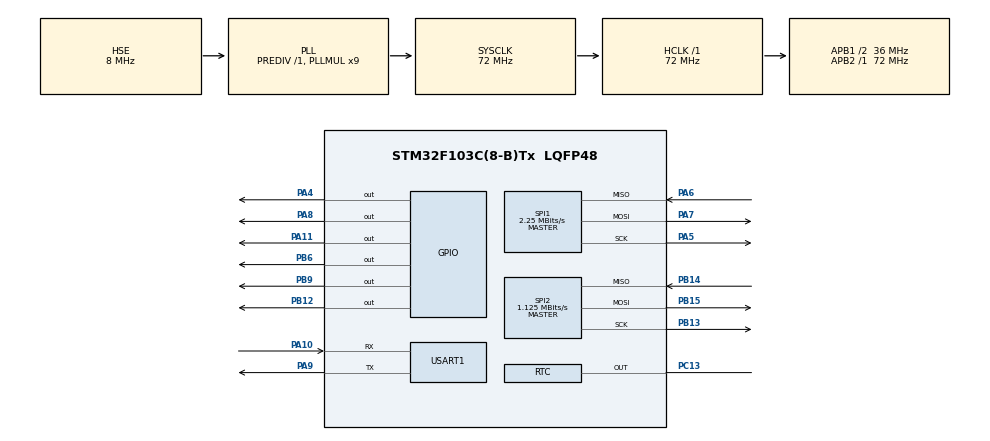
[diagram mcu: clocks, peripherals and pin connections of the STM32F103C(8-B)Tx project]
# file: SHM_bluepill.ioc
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FATFS._MAX_SS=4096
FATFS._USE_LFN=1
Mcu.Family=STM32F1
Mcu.Name=STM32F103C(8-B)Tx
Mcu.Package=LQFP48
NVIC.PriorityGroup=NVIC_PRIORITYGROUP_4
PA10.Mode=Asynchronous
PA10.Signal=USART1_RX
PA11.Signal=GPIO_Output
PA13.Mode=Serial_Wire
PA13.Signal=SYS_JTMS-SWDIO
PA14.Mode=Serial_Wire
PA14.Signal=SYS_JTCK-SWCLK
PA4.Signal=GPIO_Output
PA5.Mode=Full_Duplex_Master
PA5.Signal=SPI1_SCK
PA6.Mode=Full_Duplex_Master
PA6.Signal=SPI1_MISO
PA7.Mode=Full_Duplex_Master
PA7.Signal=SPI1_MOSI
PA8.Signal=GPIO_Output
PA9.Mode=Asynchronous
PA9.Signal=USART1_TX
PB12.Signal=GPIO_Output
PB13.Mode=Full_Duplex_Master
PB13.Signal=SPI2_SCK
PB14.Mode=Full_Duplex_Master
PB14.Signal=SPI2_MISO
PB15.Mode=Full_Duplex_Master
PB15.Signal=SPI2_MOSI
PB6.Signal=GPIO_Output
PB9.Signal=GPIO_Output
PC13-TAMPER-RTC.Mode=RTC OUT
PC13-TAMPER-RTC.Signal=RTC_OUT
PD0-OSC_IN.Mode=HSE-External-Oscillator
PD0-OSC_IN.Signal=RCC_OSC_IN
PD1-OSC_OUT.Mode=HSE-External-Oscillator
PD1-OSC_OUT.Signal=RCC_OSC_OUT
ProjectManager.HeapSize=0x200
ProjectManager.StackSize=0x400
ProjectManager.TargetToolchain=STM32CubeIDE
RCC.AHBFreq_Value=72000000
RCC.APB1CLKDivider=RCC_HCLK_DIV2
RCC.APB1Freq_Value=36000000
RCC.APB1TimFreq_Value=72000000
RCC.APB2Freq_Value=72000000
RCC.APB2TimFreq_Value=72000000
RCC.HCLKFreq_Value=72000000
RCC.PLLMUL=RCC_PLL_MUL9
RCC.PLLSourceVirtual=RCC_PLLSOURCE_HSE
RCC.SYSCLKFreq_VALUE=72000000
RCC.SYSCLKSource=RCC_SYSCLKSOURCE_PLLCLK
RCC.USBFreq_Value=72000000
RTC.Minutes_A-RTC\ OUT=1
RTC.Seconds_A-RTC\ OUT=30
SPI1.BaudRatePrescaler=SPI_BAUDRATEPRESCALER_32
SPI1.CLKPhase=SPI_PHASE_1EDGE
SPI1.CLKPolarity=SPI_POLARITY_LOW
SPI1.CalculateBaudRate=2.25 MBits/s
SPI1.Direction=SPI_DIRECTION_2LINES
SPI1.Mode=SPI_MODE_MASTER
SPI1.VirtualType=VM_MASTER
SPI2.BaudRatePrescaler=SPI_BAUDRATEPRESCALER_32
SPI2.CLKPhase=SPI_PHASE_2EDGE
SPI2.CLKPolarity=SPI_POLARITY_HIGH
SPI2.CalculateBaudRate=1.125 MBits/s
SPI2.Direction=SPI_DIRECTION_2LINES
SPI2.Mode=SPI_MODE_MASTER
SPI2.VirtualType=VM_MASTER
TIM1.Prescaler=71
TIM2.Prescaler=71
USART1.VirtualMode=VM_ASYNC
VP_FATFS_VS_Generic.Mode=User_defined
VP_RTC_VS_RTC_Activate.Mode=RTC_Enabled
VP_RTC_VS_RTC_Calendar.Mode=RTC_Calendar
VP_TIM1_VS_ClockSourceINT.Mode=Internal
VP_TIM2_VS_ClockSourceINT.Mode=Internal
board=custom

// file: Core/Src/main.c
/* USER CODE BEGIN Header */
/**
  ******************************************************************************
  * @file           : main.c
  * @brief          : Main program body
  ******************************************************************************
  * @attention
  *
  * Copyright (c) 2024 STMicroelectronics.
  * All rights reserved.
  *
  * This software is licensed under terms that can be found in the LICENSE file
  * in the root directory of this software component.
  * If no LICENSE file comes with this software, it is provided AS-IS.
  *
  ******************************************************************************
  */
/* USER CODE END Header */
#include "main.h"
#include "fatfs.h"

/* USER CODE BEGIN Includes */
#include "dht11.h"
#include "fatfs_sd.h"
#include "iis3dwb_reg.h"
#include "string.h"
#include <stdio.h>
/* USER CODE END Includes */

/* USER CODE BEGIN PD */
FATFS fs;
FIL fil;
uint32_t totalSpace, freeSpace;
/* USER CODE END PD */

/* USER CODE BEGIN PM */
#define    BOOT_TIME        10 //ms
#define CS_up_GPIO_Port GPIOA
#define CS_up_Pin GPIO_PIN_4
#define SENSOR_BUS hspi1
/* USER CODE END PM */

RTC_HandleTypeDef hrtc;

SPI_HandleTypeDef hspi1;
SPI_HandleTypeDef hspi2;

TIM_HandleTypeDef htim1;
TIM_HandleTypeDef htim2;

UART_HandleTypeDef huart1;

/* USER CODE BEGIN PV */
uint8_t RHI, RHD, TCI, TCD, SUM;
float tCelsius = 0;
float tFahrenheit = 0;
float RH = 0;
uint8_t data_rec[6];
int16_t x,y,z;
float xg, yg, zg;
char buffer[100] = {0};
char data[100] = {0};
RTC_DateTypeDef getDate = {0};
RTC_TimeTypeDef getTime = {0};

static int16_t data_raw_acceleration[3];
static int16_t data_raw_temperature;
static float acceleration_mg[3];
static float temperature_degC;
static uint8_t tx_buffer[1000];
/* USER CODE END PV */

void SystemClock_Config(void);
static void MX_GPIO_Init(void);
static void MX_RTC_Init(void);
static void MX_SPI1_Init(void);
static void MX_TIM1_Init(void);
static void MX_USART1_UART_Init(void);
static void MX_TIM2_Init(void);
static void MX_SPI2_Init(void);
/* USER CODE BEGIN PFP */

static int32_t platform_write (void *handle, uint8_t reg, const uint8_t *bufp, uint16_t len);
static int32_t platform_read (void *handle, uint8_t reg, uint8_t *bufp, uint16_t len);
static void platform_delay (uint32_t ms);
static void platform_init (void);

/* USER CODE END PFP */

/* USER CODE BEGIN 0 */
void putData (const char* fileName, char* data) {
	f_open(&fil, fileName, FA_OPEN_ALWAYS | FA_WRITE | FA_READ);
	f_lseek(&fil, fil.fsize);
	f_puts(data, &fil);
	f_close(&fil);
}

void getDHT11 () {
	while (!DHT11_Start());

	RHI = DHT11_Read(); // Relative humidity integral
	RHD = DHT11_Read(); // Relative humidity decimal
	TCI = DHT11_Read(); // Celsius integral
	TCD = DHT11_Read(); // Celsius decimal
	SUM = DHT11_Read(); // Check sum

	if (RHI + RHD + TCI + TCD == SUM)
	{
		// Can use RHI and TCI for any purposes if whole number only needed
		tCelsius = (float)TCI + (float)(TCD/10.0);
		tFahrenheit = tCelsius * 9/5 + 32;
		RH = (float)RHI + (float)(RHD/10.0);
		// Can use tCelsius, tFahrenheit and RH for any purpose
	}

	// Send to ESP32
	sprintf(buffer, "`%f,%f,", tCelsius, RH);
	HAL_UART_Transmit(&huart1, (uint8_t *)buffer, strlen(buffer), 1000);

	// Write to SD-Card
	sprintf(data, "%f,%f\n", tCelsius, RH);
	putData("Data.txt", data);
}

void IIS3DWB_Init (stmdev_ctx_t* dev_ctx)
{
	/* Initialize mems driver interface */
	dev_ctx->write_reg = platform_write;
	dev_ctx->read_reg = platform_read;
	dev_ctx->mdelay = platform_delay;
	dev_ctx->handle = &SENSOR_BUS;

	/* Init test platform */
	platform_init();

	/* Wait sensor boot time */
	platform_delay(BOOT_TIME);

	/* Restore default configuration */
	iis3dwb_reset_set(dev_ctx, PROPERTY_ENABLE);

	/* Enable Block Data Update */
	iis3dwb_block_data_update_set(dev_ctx, PROPERTY_ENABLE);

	/* Set Output Data Rate */
	iis3dwb_xl_data_rate_set(dev_ctx, IIS3DWB_XL_ODR_26k7Hz);

	/* Set full scale */
	iis3dwb_xl_full_scale_set(dev_ctx, IIS3DWB_2g);

	/* Configure filtering chain(No aux interface)
	* Accelerometer low pass filter path
	*/
	iis3dwb_xl_filt_path_on_out_set(dev_ctx, IIS3DWB_LP_ODR_DIV_100);
}

void read_temp_iis3dwb (stmdev_ctx_t* dev_ctx) {
	uint8_t reg_temp = 0;

	while (!reg_temp) {
		iis3dwb_temp_flag_data_ready_get(dev_ctx, &reg_temp);

		if (reg_temp) {
			/* Read temperature data */
			memset(&data_raw_temperature, 0x00, sizeof(int16_t));
			iis3dwb_temperature_raw_get(dev_ctx, &data_raw_temperature);
			temperature_degC = iis3dwb_from_lsb_to_celsius(data_raw_temperature);

			// Write to SD-Card
			sprintf((char *)tx_buffer,"\nT=%4.2f\n", temperature_degC);
			putData("Data.txt", (char *) tx_buffer);
		}
	}
}

void read_acc_iis3dwb (stmdev_ctx_t* dev_ctx, uint32_t startTime) {
	uint8_t reg = 0;

	while (!reg) {
		/* Read output only if new xl value is available */
		iis3dwb_xl_flag_data_ready_get(dev_ctx, &reg);

		if (reg) {
			/* Read acceleration field data */
			memset(data_raw_acceleration, 0x00, 3 * sizeof(int16_t));
			iis3dwb_acceleration_raw_get(dev_ctx, data_raw_acceleration);
			acceleration_mg[0] = iis3dwb_from_fs2g_to_mg(data_raw_acceleration[0]);
			acceleration_mg[1] = iis3dwb_from_fs2g_to_mg(data_raw_acceleration[1]);
			acceleration_mg[2] = iis3dwb_from_fs2g_to_mg(data_raw_acceleration[2]);

			// Write to SD-Card
			sprintf((char *)tx_buffer,"t=%f,A=%4.2f,%4.2f,%4.2f\n", (float)(HAL_GetTick() - startTime)/1000, acceleration_mg[0], acceleration_mg[1], acceleration_mg[2]);
			putData("Data.txt", (char *) tx_buffer);
		}
	}
}
/* USER CODE END 0 */

int main(void)
{

  /* MCU Configuration--------------------------------------------------------*/

  /* Reset of all peripherals, Initializes the Flash interface and the Systick. */
  HAL_Init();

  /* Configure the system clock */
  SystemClock_Config();

  /* Initialize all configured peripherals */
  MX_GPIO_Init();
  MX_RTC_Init();
  MX_SPI1_Init();
  MX_TIM1_Init();
  MX_USART1_UART_Init();
  MX_FATFS_Init();
  MX_TIM2_Init();
  MX_SPI2_Init();
  /* USER CODE BEGIN 2 */
  	HAL_TIM_Base_Start(&htim1);
	f_mount(&fs, "", 0);

	// Switch on all the components
	HAL_GPIO_WritePin(GPIOA, GPIO_PIN_11, 1);

	HAL_GPIO_WritePin(CS_up_GPIO_Port, CS_up_Pin, GPIO_PIN_SET);

	stmdev_ctx_t dev_ctx;
	IIS3DWB_Init(&dev_ctx);

	read_temp_iis3dwb(&dev_ctx);
	putData("Data.txt", "Acceleration data begins:\n");
	uint32_t startTime = HAL_GetTick();

  /* USER CODE END 2 */

  /* Infinite loop */
  /* USER CODE BEGIN WHILE */
	while (1)
	{
		read_acc_iis3dwb(&dev_ctx, startTime);
		// Send to ESP32
		sprintf(buffer, "^%f,%4.2f,%4.2f,%4.2f,", (float)(HAL_GetTick() - startTime)/1000, acceleration_mg[0], acceleration_mg[1], acceleration_mg[2]);
		HAL_UART_Transmit(&huart1, (uint8_t *)buffer, strlen(buffer), 1000);

		// Send to ESP32
		sprintf(buffer, "*%4.2f,", temperature_degC);
		HAL_UART_Transmit(&huart1, (uint8_t *)buffer, strlen(buffer), 1000);

		// Enter STANDBY Mode after 60 seconds
		if (HAL_GetTick() - startTime >= 60000)
		{
			// Power off all the components
			HAL_GPIO_WritePin(GPIOA, GPIO_PIN_11, 0);

			// Suspend SysTick, otherwise SysTick interrupt will wakeup MCU after 1ms of STANDBY
			HAL_SuspendTick();

			// Disable Wakeup Flag, otherwise MCU will go to STANDBY only once
			(PWR->CR) |= (PWR_FLAG_WU) << 2U;

			HAL_PWR_EnterSTANDBYMode();											// Enter STANDBY Mode

			// Resume SysTick
			HAL_ResumeTick();

			// Re-init system clock configuration after STANDBY mode exit
			SystemClock_Config();

			// Switch on all the components
			HAL_GPIO_WritePin(GPIOA, GPIO_PIN_11, 1);

			read_temp_iis3dwb(&dev_ctx);
			putData("Data.txt", "Acceleration data begins:\n");
			startTime = HAL_GetTick();
		}
    /* USER CODE END WHILE */

	}
}

void SystemClock_Config(void)
{
  RCC_OscInitTypeDef RCC_OscInitStruct = {0};
  RCC_ClkInitTypeDef RCC_ClkInitStruct = {0};
  RCC_PeriphCLKInitTypeDef PeriphClkInit = {0};

  /** Initializes the RCC Oscillators according to the specified parameters
  * in the RCC_OscInitTypeDef structure.
  */
  RCC_OscInitStruct.OscillatorType = RCC_OSCILLATORTYPE_LSI|RCC_OSCILLATORTYPE_HSE;
  RCC_OscInitStruct.HSEState = RCC_HSE_ON;
  RCC_OscInitStruct.HSEPredivValue = RCC_HSE_PREDIV_DIV1;
  RCC_OscInitStruct.HSIState = RCC_HSI_ON;
  RCC_OscInitStruct.LSIState = RCC_LSI_ON;
  RCC_OscInitStruct.PLL.PLLState = RCC_PLL_ON;
  RCC_OscInitStruct.PLL.PLLSource = RCC_PLLSOURCE_HSE;
  RCC_OscInitStruct.PLL.PLLMUL = RCC_PLL_MUL9;
  if (HAL_RCC_OscConfig(&RCC_OscInitStruct) != HAL_OK)
  {
    Error_Handler();
  }

  /** Initializes the CPU, AHB and APB buses clocks
  */
  RCC_ClkInitStruct.ClockType = RCC_CLOCKTYPE_HCLK|RCC_CLOCKTYPE_SYSCLK
                              |RCC_CLOCKTYPE_PCLK1|RCC_CLOCKTYPE_PCLK2;
  RCC_ClkInitStruct.SYSCLKSource = RCC_SYSCLKSOURCE_PLLCLK;
  RCC_ClkInitStruct.AHBCLKDivider = RCC_SYSCLK_DIV1;
  RCC_ClkInitStruct.APB1CLKDivider = RCC_HCLK_DIV2;
  RCC_ClkInitStruct.APB2CLKDivider = RCC_HCLK_DIV1;

  if (HAL_RCC_ClockConfig(&RCC_ClkInitStruct, FLASH_LATENCY_2) != HAL_OK)
  {
    Error_Handler();
  }
  PeriphClkInit.PeriphClockSelection = RCC_PERIPHCLK_RTC;
  PeriphClkInit.RTCClockSelection = RCC_RTCCLKSOURCE_LSI;
  if (HAL_RCCEx_PeriphCLKConfig(&PeriphClkInit) != HAL_OK)
  {
    Error_Handler();
  }
}

static void MX_RTC_Init(void)
{

  RTC_TimeTypeDef sTime = {0};
  RTC_DateTypeDef DateToUpdate = {0};
  RTC_AlarmTypeDef sAlarm = {0};

  /** Initialize RTC Only
  */
  hrtc.Instance = RTC;
  hrtc.Init.AsynchPrediv = RTC_AUTO_1_SECOND;
  hrtc.Init.OutPut = RTC_OUTPUTSOURCE_ALARM;
  if (HAL_RTC_Init(&hrtc) != HAL_OK)
  {
    Error_Handler();
  }

  /** Initialize RTC and set the Time and Date
  */
  sTime.Hours = 0x0;
  sTime.Minutes = 0x0;
  sTime.Seconds = 0x0;

  if (HAL_RTC_SetTime(&hrtc, &sTime, RTC_FORMAT_BCD) != HAL_OK)
  {
    Error_Handler();
  }
  DateToUpdate.WeekDay = RTC_WEEKDAY_MONDAY;
  DateToUpdate.Month = RTC_MONTH_JANUARY;
  DateToUpdate.Date = 0x1;
  DateToUpdate.Year = 0x0;

  if (HAL_RTC_SetDate(&hrtc, &DateToUpdate, RTC_FORMAT_BCD) != HAL_OK)
  {
    Error_Handler();
  }

  /** Enable the Alarm A
  */
  sAlarm.AlarmTime.Hours = 0x0;
  sAlarm.AlarmTime.Minutes = 0x1;
  sAlarm.AlarmTime.Seconds = 0x30;
  sAlarm.Alarm = RTC_ALARM_A;
  if (HAL_RTC_SetAlarm(&hrtc, &sAlarm, RTC_FORMAT_BCD) != HAL_OK)
  {
    Error_Handler();
  }

}

static void MX_SPI1_Init(void)
{

  /* SPI1 parameter configuration*/
  hspi1.Instance = SPI1;
  hspi1.Init.Mode = SPI_MODE_MASTER;
  hspi1.Init.Direction = SPI_DIRECTION_2LINES;
  hspi1.Init.DataSize = SPI_DATASIZE_8BIT;
  hspi1.Init.CLKPolarity = SPI_POLARITY_LOW;
  hspi1.Init.CLKPhase = SPI_PHASE_1EDGE;
  hspi1.Init.NSS = SPI_NSS_SOFT;
  hspi1.Init.BaudRatePrescaler = SPI_BAUDRATEPRESCALER_32;
  hspi1.Init.FirstBit = SPI_FIRSTBIT_MSB;
  hspi1.Init.TIMode = SPI_TIMODE_DISABLE;
  hspi1.Init.CRCCalculation = SPI_CRCCALCULATION_DISABLE;
  hspi1.Init.CRCPolynomial = 10;
  if (HAL_SPI_Init(&hspi1) != HAL_OK)
  {
    Error_Handler();
  }

}

static void MX_SPI2_Init(void)
{

  /* SPI2 parameter configuration*/
  hspi2.Instance = SPI2;
  hspi2.Init.Mode = SPI_MODE_MASTER;
  hspi2.Init.Direction = SPI_DIRECTION_2LINES;
  hspi2.Init.DataSize = SPI_DATASIZE_8BIT;
  hspi2.Init.CLKPolarity = SPI_POLARITY_HIGH;
  hspi2.Init.CLKPhase = SPI_PHASE_2EDGE;
  hspi2.Init.NSS = SPI_NSS_SOFT;
  hspi2.Init.BaudRatePrescaler = SPI_BAUDRATEPRESCALER_32;
  hspi2.Init.FirstBit = SPI_FIRSTBIT_MSB;
  hspi2.Init.TIMode = SPI_TIMODE_DISABLE;
  hspi2.Init.CRCCalculation = SPI_CRCCALCULATION_DISABLE;
  hspi2.Init.CRCPolynomial = 10;
  if (HAL_SPI_Init(&hspi2) != HAL_OK)
  {
    Error_Handler();
  }

}

static void MX_TIM1_Init(void)
{

  TIM_ClockConfigTypeDef sClockSourceConfig = {0};
  TIM_MasterConfigTypeDef sMasterConfig = {0};

  htim1.Instance = TIM1;
  htim1.Init.Prescaler = 71;
  htim1.Init.CounterMode = TIM_COUNTERMODE_UP;
  htim1.Init.Period = 65535;
  htim1.Init.ClockDivision = TIM_CLOCKDIVISION_DIV1;
  htim1.Init.RepetitionCounter = 0;
  htim1.Init.AutoReloadPreload = TIM_AUTORELOAD_PRELOAD_DISABLE;
  if (HAL_TIM_Base_Init(&htim1) != HAL_OK)
  {
    Error_Handler();
  }
  sClockSourceConfig.ClockSource = TIM_CLOCKSOURCE_INTERNAL;
  if (HAL_TIM_ConfigClockSource(&htim1, &sClockSourceConfig) != HAL_OK)
  {
    Error_Handler();
  }
  sMasterConfig.MasterOutputTrigger = TIM_TRGO_RESET;
  sMasterConfig.MasterSlaveMode = TIM_MASTERSLAVEMODE_DISABLE;
  if (HAL_TIMEx_MasterConfigSynchronization(&htim1, &sMasterConfig) != HAL_OK)
  {
    Error_Handler();
  }

}

static void MX_TIM2_Init(void)
{

  TIM_ClockConfigTypeDef sClockSourceConfig = {0};
  TIM_MasterConfigTypeDef sMasterConfig = {0};

  htim2.Instance = TIM2;
  htim2.Init.Prescaler = 71;
  htim2.Init.CounterMode = TIM_COUNTERMODE_UP;
  htim2.Init.Period = 65535;
  htim2.Init.ClockDivision = TIM_CLOCKDIVISION_DIV1;
  htim2.Init.AutoReloadPreload = TIM_AUTORELOAD_PRELOAD_DISABLE;
  if (HAL_TIM_Base_Init(&htim2) != HAL_OK)
  {
    Error_Handler();
  }
  sClockSourceConfig.ClockSource = TIM_CLOCKSOURCE_INTERNAL;
  if (HAL_TIM_ConfigClockSource(&htim2, &sClockSourceConfig) != HAL_OK)
  {
    Error_Handler();
  }
  sMasterConfig.MasterOutputTrigger = TIM_TRGO_RESET;
  sMasterConfig.MasterSlaveMode = TIM_MASTERSLAVEMODE_DISABLE;
  if (HAL_TIMEx_MasterConfigSynchronization(&htim2, &sMasterConfig) != HAL_OK)
  {
    Error_Handler();
  }

}

static void MX_USART1_UART_Init(void)
{

  huart1.Instance = USART1;
  huart1.Init.BaudRate = 115200;
  huart1.Init.WordLength = UART_WORDLENGTH_8B;
  huart1.Init.StopBits = UART_STOPBITS_1;
  huart1.Init.Parity = UART_PARITY_NONE;
  huart1.Init.Mode = UART_MODE_TX_RX;
  huart1.Init.HwFlowCtl = UART_HWCONTROL_NONE;
  huart1.Init.OverSampling = UART_OVERSAMPLING_16;
  if (HAL_UART_Init(&huart1) != HAL_OK)
  {
    Error_Handler();
  }

}

static void MX_GPIO_Init(void)
{
  GPIO_InitTypeDef GPIO_InitStruct = {0};

  /* GPIO Ports Clock Enable */
  __HAL_RCC_GPIOC_CLK_ENABLE();
  __HAL_RCC_GPIOD_CLK_ENABLE();
  __HAL_RCC_GPIOA_CLK_ENABLE();
  __HAL_RCC_GPIOB_CLK_ENABLE();

  /*Configure GPIO pin Output Level */
  HAL_GPIO_WritePin(GPIOA, GPIO_PIN_4|GPIO_PIN_8|GPIO_PIN_11, GPIO_PIN_RESET);

  /*Configure GPIO pin Output Level */
  HAL_GPIO_WritePin(GPIOB, GPIO_PIN_12|GPIO_PIN_6|GPIO_PIN_9, GPIO_PIN_RESET);

  /*Configure GPIO pins : PA4 PA8 PA11 */
  GPIO_InitStruct.Pin = GPIO_PIN_4|GPIO_PIN_8|GPIO_PIN_11;
  GPIO_InitStruct.Mode = GPIO_MODE_OUTPUT_PP;
  GPIO_InitStruct.Pull = GPIO_NOPULL;
  GPIO_InitStruct.Speed = GPIO_SPEED_FREQ_LOW;
  HAL_GPIO_Init(GPIOA, &GPIO_InitStruct);

  /*Configure GPIO pins : PB12 PB6 PB9 */
  GPIO_InitStruct.Pin = GPIO_PIN_12|GPIO_PIN_6|GPIO_PIN_9;
  GPIO_InitStruct.Mode = GPIO_MODE_OUTPUT_PP;
  GPIO_InitStruct.Pull = GPIO_NOPULL;
  GPIO_InitStruct.Speed = GPIO_SPEED_FREQ_LOW;
  HAL_GPIO_Init(GPIOB, &GPIO_InitStruct);

}

/* USER CODE BEGIN 4 */
// Alarm goes off every 20 seconds as of now => Thus we get 20s to operate & 20s of STANDBY mode
void HAL_RTC_AlarmAEventCallback(RTC_HandleTypeDef *hrtc) {
	RTC_AlarmTypeDef sAlarm;
	HAL_RTC_GetAlarm(hrtc, &sAlarm, RTC_ALARM_A, FORMAT_BIN);
	if (sAlarm.AlarmTime.Seconds > 58) {
		sAlarm.AlarmTime.Seconds = 0;
	}
	else {
		sAlarm.AlarmTime.Seconds = sAlarm.AlarmTime.Seconds+1;
	}
	while (HAL_RTC_SetAlarm_IT(hrtc, &sAlarm, FORMAT_BIN) != HAL_OK) {}

	HAL_GPIO_TogglePin(GPIOC, GPIO_PIN_13);

	// Power on all the components
	HAL_GPIO_WritePin(GPIOA, GPIO_PIN_11, 1);
}

int _write(int file, char *ptr, int len)
{
  (void)file;
  int DataIdx;

  for (DataIdx = 0; DataIdx < len; DataIdx++)
  {
    ITM_SendChar(*ptr++);
  }
  return len;
}

/*
 * @brief  Write generic device register (platform dependent)
 *
 * @param  handle    customizable argument. In this examples is used in
 *                   order to select the correct sensor bus handler.
 * @param  reg       register to write
 * @param  bufp      pointer to data to write in register reg
 * @param  len       number of consecutive register to write
 *
 */
static int32_t platform_write(void *handle, uint8_t reg, const uint8_t *bufp,
                              uint16_t len)
{
	HAL_GPIO_WritePin(CS_up_GPIO_Port, CS_up_Pin, GPIO_PIN_RESET);
	HAL_SPI_Transmit(handle, &reg, 1, 1000);
	HAL_SPI_Transmit(handle, (uint8_t*) bufp, len, 1000);
	HAL_GPIO_WritePin(CS_up_GPIO_Port, CS_up_Pin, GPIO_PIN_SET);
	return 0;
}

/*
 * @brief  Read generic device register (platform dependent)
 *
 * @param  handle    customizable argument. In this examples is used in
 *                   order to select the correct sensor bus handler.
 * @param  reg       register to read
 * @param  bufp      pointer to buffer that store the data read
 * @param  len       number of consecutive register to read
 *
 */
static int32_t platform_read(void *handle, uint8_t reg, uint8_t *bufp,
                             uint16_t len)
{
    reg |= 0x80;
    HAL_GPIO_WritePin(CS_up_GPIO_Port, CS_up_Pin, GPIO_PIN_RESET);
	HAL_SPI_Transmit(handle, &reg, 1, 1000);
	HAL_SPI_Receive(handle, bufp, len, 1000);
	HAL_GPIO_WritePin(CS_up_GPIO_Port, CS_up_Pin, GPIO_PIN_SET);
	return 0;
}

/*
 * @brief  platform specific delay (platform dependent)
 *
 * @param  ms        delay in ms
 *
 */
static void platform_delay(uint32_t ms)
{
  HAL_Delay(ms);
}

/*
 * @brief  platform specific initialization (platform dependent)
 */
static void platform_init(void)
{
#if defined(STEVAL_MKI109V3)
  TIM3->CCR1 = PWM_3V3;
  TIM3->CCR2 = PWM_3V3;
  HAL_TIM_PWM_Start(&htim3, TIM_CHANNEL_1);
  HAL_TIM_PWM_Start(&htim3, TIM_CHANNEL_2);
  HAL_Delay(1000);
#endif
}
/* USER CODE END 4 */

void Error_Handler(void)
{
  __disable_irq();
  while (1)
  {
  }
}
